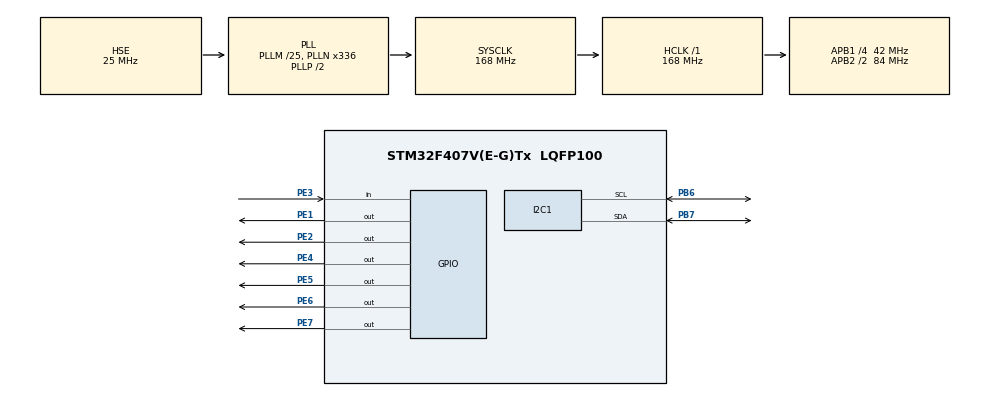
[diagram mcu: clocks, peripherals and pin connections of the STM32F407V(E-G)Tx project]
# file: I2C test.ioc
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I2C1.I2C_Mode=I2C_Fast
Mcu.Family=STM32F4
Mcu.Name=STM32F407V(E-G)Tx
Mcu.Package=LQFP100
NVIC.PriorityGroup=NVIC_PRIORITYGROUP_4
PB6.Mode=I2C
PB6.Signal=I2C1_SCL
PB7.Mode=I2C
PB7.Signal=I2C1_SDA
PE1.Signal=GPIO_Output
PE2.Signal=GPIO_Output
PE3.Signal=GPIO_Input
PE4.Signal=GPIO_Output
PE5.Signal=GPIO_Output
PE6.Signal=GPIO_Output
PE7.Signal=GPIO_Output
PH0-OSC_IN.Mode=HSE-External-Oscillator
PH0-OSC_IN.Signal=RCC_OSC_IN
PH1-OSC_OUT.Mode=HSE-External-Oscillator
PH1-OSC_OUT.Signal=RCC_OSC_OUT
ProjectManager.HeapSize=0x200
ProjectManager.StackSize=0x400
ProjectManager.TargetToolchain=STM32CubeIDE
RCC.48MHZClocksFreq_Value=84000000
RCC.AHBFreq_Value=168000000
RCC.APB1CLKDivider=RCC_HCLK_DIV4
RCC.APB1Freq_Value=42000000
RCC.APB1TimFreq_Value=84000000
RCC.APB2CLKDivider=RCC_HCLK_DIV2
RCC.APB2Freq_Value=84000000
RCC.APB2TimFreq_Value=168000000
RCC.CortexFreq_Value=168000000
RCC.HCLKFreq_Value=168000000
RCC.HSE_VALUE=25000000
RCC.HSI_VALUE=16000000
RCC.LSE_VALUE=32768
RCC.PLLM=25
RCC.PLLN=336
RCC.PLLSourceVirtual=RCC_PLLSOURCE_HSE
RCC.SYSCLKFreq_VALUE=168000000
RCC.SYSCLKSource=RCC_SYSCLKSOURCE_PLLCLK
RCC.VCOOutputFreq_Value=336000000
board=custom

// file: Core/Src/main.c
/* USER CODE BEGIN Header */
/**
  ******************************************************************************
  * @file           : main.c
  * @brief          : Main program body
  ******************************************************************************
  * @attention
  *
  * Copyright (c) 2023 STMicroelectronics.
  * All rights reserved.
  *
  * This software is licensed under terms that can be found in the LICENSE file
  * in the root directory of this software component.
  * If no LICENSE file comes with this software, it is provided AS-IS.
  *
  ******************************************************************************
  */
/* USER CODE END Header */
#include "main.h"
#include "i2c.h"
#include "gpio.h"

/* USER CODE BEGIN Includes */
#include "CLCD.h"
/* USER CODE END Includes */

void SystemClock_Config(void);

int main(void)
{

  /* MCU Configuration--------------------------------------------------------*/

  /* Reset of all peripherals, Initializes the Flash interface and the Systick. */
  HAL_Init();

  /* Configure the system clock */
  SystemClock_Config();

  /* Initialize all configured peripherals */
  MX_GPIO_Init();
  MX_I2C1_Init();
  /* USER CODE BEGIN 2 */
  CLCD_GPIO_Init();
  CLCD_Init();
  CLCD_Clear();
  /* USER CODE END 2 */

  /* Infinite loop */
  /* USER CODE BEGIN WHILE */
  uint16_t str[20];
  uint8_t eeprom[10] = {0x00, 0x11, 0x22, 0x33, 0x44, 0x55, 0x66, 0x77, 0x88, 0x99};
  HAL_I2C_Mem_Write(&hi2c1, 0xA0, 0x00, I2C_MEMADD_SIZE_8BIT, &eeprom[0], 10, 10);
  HAL_Delay(3);
  for(int i =0;i<10;i++) {
	  eeprom[i] = 0x00;
  }
  HAL_I2C_Mem_Read(&hi2c1, 0xA0, 0x00, I2C_MEMADD_SIZE_8BIT, &eeprom[0], 10, 10);
  sprintf(str, "%02x %02x %02x %02x %02x", eeprom[0], eeprom[1], eeprom[2], eeprom[3], eeprom[4]);
  CLCD_Puts(0, 0, str);
  sprintf(str, "%02x %02x %02x %02x %02x", eeprom[5], eeprom[6], eeprom[7], eeprom[8], eeprom[9]);
  CLCD_Puts(0, 1, str);
  while (1)
  {

    /* USER CODE END WHILE */

  }
}

void SystemClock_Config(void)
{
  RCC_OscInitTypeDef RCC_OscInitStruct = {0};
  RCC_ClkInitTypeDef RCC_ClkInitStruct = {0};

  /** Configure the main internal regulator output voltage
  */
  __HAL_RCC_PWR_CLK_ENABLE();
  __HAL_PWR_VOLTAGESCALING_CONFIG(PWR_REGULATOR_VOLTAGE_SCALE1);

  /** Initializes the RCC Oscillators according to the specified parameters
  * in the RCC_OscInitTypeDef structure.
  */
  RCC_OscInitStruct.OscillatorType = RCC_OSCILLATORTYPE_HSE;
  RCC_OscInitStruct.HSEState = RCC_HSE_ON;
  RCC_OscInitStruct.PLL.PLLState = RCC_PLL_ON;
  RCC_OscInitStruct.PLL.PLLSource = RCC_PLLSOURCE_HSE;
  RCC_OscInitStruct.PLL.PLLM = 25;
  RCC_OscInitStruct.PLL.PLLN = 336;
  RCC_OscInitStruct.PLL.PLLP = RCC_PLLP_DIV2;
  RCC_OscInitStruct.PLL.PLLQ = 4;
  if (HAL_RCC_OscConfig(&RCC_OscInitStruct) != HAL_OK)
  {
    Error_Handler();
  }

  /** Initializes the CPU, AHB and APB buses clocks
  */
  RCC_ClkInitStruct.ClockType = RCC_CLOCKTYPE_HCLK|RCC_CLOCKTYPE_SYSCLK
                              |RCC_CLOCKTYPE_PCLK1|RCC_CLOCKTYPE_PCLK2;
  RCC_ClkInitStruct.SYSCLKSource = RCC_SYSCLKSOURCE_PLLCLK;
  RCC_ClkInitStruct.AHBCLKDivider = RCC_SYSCLK_DIV1;
  RCC_ClkInitStruct.APB1CLKDivider = RCC_HCLK_DIV4;
  RCC_ClkInitStruct.APB2CLKDivider = RCC_HCLK_DIV2;

  if (HAL_RCC_ClockConfig(&RCC_ClkInitStruct, FLASH_LATENCY_5) != HAL_OK)
  {
    Error_Handler();
  }
}

void Error_Handler(void)
{
  __disable_irq();
  while (1)
  {
  }
}
